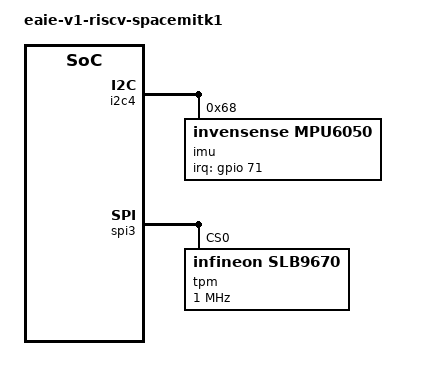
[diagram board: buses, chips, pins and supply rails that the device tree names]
// SPDX-License-Identifier: (GPL-2.0 OR MIT)
/* Copyright (c) 2023 Spacemit, Inc */

/dts-v1/;

#include "k1-x_deb1-common.dtsi"
#include <dt-bindings/interrupt-controller/irq.h>

/ {
	model = "eaie-v1-riscv-spacemitk1";
};

&i2c4 {
	pinctrl-names = "default";
	pinctrl-0 = <&pinctrl_i2c4_2>;
	status = "okay";

	oled@3c {
		compatible = "solomon,ssd1306";
		reg = <0x3c>;
		solomon,width = <128>;
		solomon,height = <64>;
		solomon,com-invdir;
		status = "disabled";
	};

	/*
	 * MPU6050 6-axis IMU on the same AP_I2C4 bus previously used by the
	 * OLED test display. This first bring-up pass assumes the common
	 * 0x68 address and routes the sensor INT pin to GPIO_71_3v3 on
	 * physical header pin 11.
	 */
	imu@68 {
		compatible = "invensense,mpu6050";
		reg = <0x68>;
		interrupt-parent = <&gpio>;
		interrupts = <71 IRQ_TYPE_EDGE_RISING>;
		status = "okay";
	};
};

&spi3 {
	pinctrl-names = "default";
	pinctrl-0 = <&pinctrl_ssp3_0>;
	k1x,ssp-disable-dma;
	status = "okay";
	k1x,ssp-clock-rate = <25600000>;

	/*
	 * SLB9670 TPM2 module on the native SPI3 chip select exposed on
	 * physical header pin 24. Reset and IRQ are left to the module straps
	 * for the current bring-up stage.
	 */
	tpm@0 {
		compatible = "infineon,slb9670";
		reg = <0>;
		spi-max-frequency = <1000000>;
		status = "okay";
	};
};
